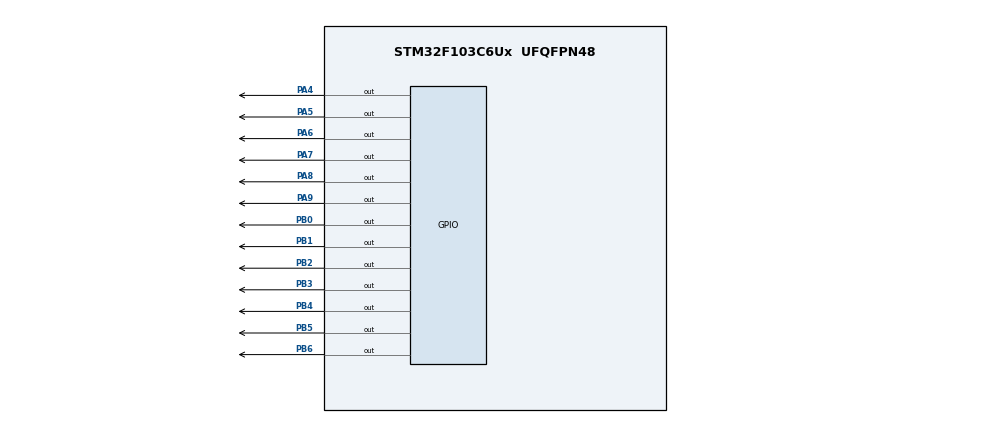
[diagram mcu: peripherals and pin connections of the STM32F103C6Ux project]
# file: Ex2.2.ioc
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Mcu.Family=STM32F1
Mcu.Name=STM32F103C6Ux
Mcu.Package=UFQFPN48
NVIC.PriorityGroup=NVIC_PRIORITYGROUP_4
NVIC.TIM2_IRQn=true\:0\:0\:false\:false\:true\:true\:true
PA4.Signal=GPIO_Output
PA5.Signal=GPIO_Output
PA6.Signal=GPIO_Output
PA7.Signal=GPIO_Output
PA8.Signal=GPIO_Output
PA9.Signal=GPIO_Output
PB0.Signal=GPIO_Output
PB1.Signal=GPIO_Output
PB2.Signal=GPIO_Output
PB3.Signal=GPIO_Output
PB4.Signal=GPIO_Output
PB5.Signal=GPIO_Output
PB6.Signal=GPIO_Output
ProjectManager.HeapSize=0x200
ProjectManager.StackSize=0x400
ProjectManager.TargetToolchain=STM32CubeIDE
RCC.APB1Freq_Value=8000000
RCC.APB2Freq_Value=8000000
TIM2.Period=9
TIM2.Prescaler=7999
VP_SYS_VS_ND.Mode=No_Debug
VP_TIM2_VS_ClockSourceINT.Mode=Internal
board=custom

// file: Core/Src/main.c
/* USER CODE BEGIN Header */
/**
 ******************************************************************************
 * @file           : main.c
 * @brief          : Main program body
 ******************************************************************************
 * @attention
 *
 * <h2><center>&copy; Copyright (c) 2022 STMicroelectronics.
 * All rights reserved.</center></h2>
 *
 * This software component is licensed by ST under BSD 3-Clause license,
 * the "License"; You may not use this file except in compliance with the
 * License. You may obtain a copy of the License at:
 *                        opensource.org/licenses/BSD-3-Clause
 *
 ******************************************************************************
 */
/* USER CODE END Header */
#include "main.h"

TIM_HandleTypeDef htim2;

void SystemClock_Config(void);
static void MX_GPIO_Init(void);
static void MX_TIM2_Init(void);

int main(void) {

	/* MCU Configuration--------------------------------------------------------*/

	/* Reset of all peripherals, Initializes the Flash interface and the Systick. */
	HAL_Init();

	/* Configure the system clock */
	SystemClock_Config();

	/* Initialize all configured peripherals */
	MX_GPIO_Init();
	MX_TIM2_Init();
	/* USER CODE BEGIN 2 */
	HAL_TIM_Base_Start_IT(&htim2);
	/* USER CODE END 2 */

	/* Infinite loop */
	while (1) {

	}
}

void SystemClock_Config(void) {
	RCC_OscInitTypeDef RCC_OscInitStruct = { 0 };
	RCC_ClkInitTypeDef RCC_ClkInitStruct = { 0 };

	/** Initializes the RCC Oscillators according to the specified parameters
	 * in the RCC_OscInitTypeDef structure.
	 */
	RCC_OscInitStruct.OscillatorType = RCC_OSCILLATORTYPE_HSI;
	RCC_OscInitStruct.HSIState = RCC_HSI_ON;
	RCC_OscInitStruct.HSICalibrationValue = RCC_HSICALIBRATION_DEFAULT;
	RCC_OscInitStruct.PLL.PLLState = RCC_PLL_NONE;
	if (HAL_RCC_OscConfig(&RCC_OscInitStruct) != HAL_OK) {
		Error_Handler();
	}
	/** Initializes the CPU, AHB and APB buses clocks
	 */
	RCC_ClkInitStruct.ClockType = RCC_CLOCKTYPE_HCLK | RCC_CLOCKTYPE_SYSCLK
			| RCC_CLOCKTYPE_PCLK1 | RCC_CLOCKTYPE_PCLK2;
	RCC_ClkInitStruct.SYSCLKSource = RCC_SYSCLKSOURCE_HSI;
	RCC_ClkInitStruct.AHBCLKDivider = RCC_SYSCLK_DIV1;
	RCC_ClkInitStruct.APB1CLKDivider = RCC_HCLK_DIV1;
	RCC_ClkInitStruct.APB2CLKDivider = RCC_HCLK_DIV1;

	if (HAL_RCC_ClockConfig(&RCC_ClkInitStruct, FLASH_LATENCY_0) != HAL_OK) {
		Error_Handler();
	}
}

static void MX_TIM2_Init(void) {

	TIM_ClockConfigTypeDef sClockSourceConfig = { 0 };
	TIM_MasterConfigTypeDef sMasterConfig = { 0 };

	htim2.Instance = TIM2;
	htim2.Init.Prescaler = 7999;
	htim2.Init.CounterMode = TIM_COUNTERMODE_UP;
	htim2.Init.Period = 9;
	htim2.Init.ClockDivision = TIM_CLOCKDIVISION_DIV1;
	htim2.Init.AutoReloadPreload = TIM_AUTORELOAD_PRELOAD_DISABLE;
	if (HAL_TIM_Base_Init(&htim2) != HAL_OK) {
		Error_Handler();
	}
	sClockSourceConfig.ClockSource = TIM_CLOCKSOURCE_INTERNAL;
	if (HAL_TIM_ConfigClockSource(&htim2, &sClockSourceConfig) != HAL_OK) {
		Error_Handler();
	}
	sMasterConfig.MasterOutputTrigger = TIM_TRGO_RESET;
	sMasterConfig.MasterSlaveMode = TIM_MASTERSLAVEMODE_DISABLE;
	if (HAL_TIMEx_MasterConfigSynchronization(&htim2, &sMasterConfig)
			!= HAL_OK) {
		Error_Handler();
	}

}

static void MX_GPIO_Init(void) {
	GPIO_InitTypeDef GPIO_InitStruct = { 0 };

	/* GPIO Ports Clock Enable */
	__HAL_RCC_GPIOA_CLK_ENABLE();
	__HAL_RCC_GPIOB_CLK_ENABLE();

	/*Configure GPIO pin Output Level */
	HAL_GPIO_WritePin(GPIOA,
	GPIO_PIN_4 | GPIO_PIN_5 | GPIO_PIN_6 | GPIO_PIN_7 | GPIO_PIN_8 | GPIO_PIN_9,
			GPIO_PIN_RESET);

	/*Configure GPIO pin Output Level */
	HAL_GPIO_WritePin(GPIOB,
			GPIO_PIN_0 | GPIO_PIN_1 | GPIO_PIN_2 | GPIO_PIN_3 | GPIO_PIN_4
					| GPIO_PIN_5 | GPIO_PIN_6, GPIO_PIN_RESET);

	/*Configure GPIO pins : PA4 PA5 PA6 PA7
	 PA8 PA9 */
	GPIO_InitStruct.Pin = GPIO_PIN_4 | GPIO_PIN_5 | GPIO_PIN_6 | GPIO_PIN_7
			| GPIO_PIN_8 | GPIO_PIN_9;
	GPIO_InitStruct.Mode = GPIO_MODE_OUTPUT_PP;
	GPIO_InitStruct.Pull = GPIO_NOPULL;
	GPIO_InitStruct.Speed = GPIO_SPEED_FREQ_LOW;
	HAL_GPIO_Init(GPIOA, &GPIO_InitStruct);

	/*Configure GPIO pins : PB0 PB1 PB2 PB3
	 PB4 PB5 PB6 */
	GPIO_InitStruct.Pin = GPIO_PIN_0 | GPIO_PIN_1 | GPIO_PIN_2 | GPIO_PIN_3
			| GPIO_PIN_4 | GPIO_PIN_5 | GPIO_PIN_6;
	GPIO_InitStruct.Mode = GPIO_MODE_OUTPUT_PP;
	GPIO_InitStruct.Pull = GPIO_NOPULL;
	GPIO_InitStruct.Speed = GPIO_SPEED_FREQ_LOW;
	HAL_GPIO_Init(GPIOB, &GPIO_InitStruct);

}

/* USER CODE BEGIN 4 */
void display7SEG(int num) {
	char led7seg[10] = { 0x40, 0x79, 0x24, 0x30, 0x19, 0x92, 0x12, 0x78, 0x0,
			0x10 };
	for (int i = 0; i < 7; i++) {
		HAL_GPIO_WritePin(GPIOB, GPIO_PIN_0 << i, (led7seg[num] >> i) & 1);
	}
}

void clearLED() {
	HAL_GPIO_WritePin( GPIOA, GPIO_PIN_6 | GPIO_PIN_7 | GPIO_PIN_8 | GPIO_PIN_9,
			GPIO_PIN_SET);
	HAL_GPIO_WritePin( GPIOB, GPIO_PIN_0 | GPIO_PIN_1 | GPIO_PIN_2 |
	GPIO_PIN_3 | GPIO_PIN_4 | GPIO_PIN_5 |
	GPIO_PIN_6, GPIO_PIN_SET);
}
void writePin(int index) {
	HAL_GPIO_WritePin(GPIOA, GPIO_PIN_0 << index, RESET);
}
int counter = 100;
int myIndex = 0;
int buffer[4] = { 1, 2, 3, 0 };
void HAL_TIM_PeriodElapsedCallback(TIM_HandleTypeDef *htim) {
	counter--;
	if (counter == 50 || counter == 0) {
		if (counter == 0) {
			counter = 100;
			HAL_GPIO_TogglePin( GPIOA, GPIO_PIN_4 | GPIO_PIN_5);
		}

		clearLED();
		int write = myIndex + 6;
		writePin(write);
		display7SEG(buffer[myIndex]);
		myIndex++;
		if (myIndex == 4)
			myIndex = 0;
	}
}

/* USER CODE END 4 */

void Error_Handler(void) {
	__disable_irq();
	while (1) {
	}
}

/************************ (C) COPYRIGHT STMicroelectronics *****END OF FILE****/
